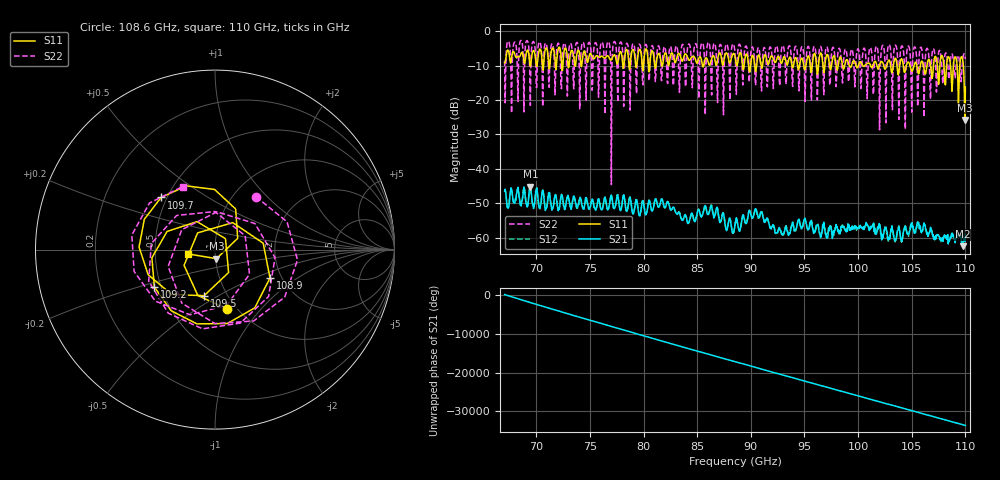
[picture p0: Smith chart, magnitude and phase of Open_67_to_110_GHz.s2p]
#  HZ  S  MA  R  50.00
! Rohde & Schwarz ZVA67 4Ports - Version 4.11 - 1305.7002k04 SN: 101051
! Date: 2023-09-13 16:03:28
! Measurements: S11 S21 S12 S22
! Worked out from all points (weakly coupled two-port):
!   860 points, 67.05 GHz to 110 GHz, reference 50 ohm
!   highest |S21| = -45.21 dB at 69.45 GHz (marker M1); lowest = -62.5 dB at 109.8 GHz (marker M2)
!   lowest |S11| = -25.8 dB at 110 GHz (marker M3), VSWR 1.11, Z = 50.6 - j5.14 ohm
!   |S11| at or under -10 dB: 102.3872 GHz to 102.6549 GHz (267.7 MHz wide, 0.261 % of centre); 104.8299 GHz to 105.1997 GHz (369.8 MHz wide, 0.352 % of centre); 106.0919 GHz to 106.414 GHz (322 MHz wide, 0.303 % of centre) (the widest 3 of 50)
!   |S22| runs from -44.6 to -2.7 dB; largest |S21 - S12| = 0.00079
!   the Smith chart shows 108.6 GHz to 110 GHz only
!   S11 on the Smith chart (normalised r, x): 108.6 GHz: 0.90, -0.67; 108.9 GHz: 1.74, -0.62; 109.2 GHz: 0.46, -0.23; 109.5 GHz: 0.78, -0.43; 109.7 GHz: 0.47, +0.33; 110 GHz: 0.73, -0.04
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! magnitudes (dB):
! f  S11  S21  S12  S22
! 67.05 GHz  -9.2  -46.4  -46.5  -8.5
! 67.4 GHz  -5.6  -51.4  -50.7  -2.9
! 67.65 GHz  -8.7  -45.5  -45.8  -12.9
! 68.55 GHz  -6.7  -50.6  -50.0  -2.7
! 69.45 GHz  -10.2  -45.2  -45.0  -21.5
! 74.25 GHz  -9.7  -50.4  -50.3  -3.9
! 81.4 GHz  -6.5  -51.1  -51.1  -4.2
! 88.55 GHz  -7.7  -55.7  -55.9  -7.5
! 90.45 GHz  -11.8  -51.5  -51.5  -15.7
! 92.95 GHz  -8.7  -58.8  -59.2  -4.2
! 95.7 GHz  -10.8  -56.4  -55.7  -11.0
! 101.7 GHz  -9.4  -58.9  -58.7  -4.3
! 102 GHz  -9.8  -56.1  -56.2  -28.6
! 102.8 GHz  -8.4  -59.9  -61.3  -3.9
! 108.6 GHz  -9.5  -59.8  -59.9  -8.6
! 108.9 GHz  -9.3  -59.2  -59.7  -9.1
! 109.2 GHz  -8.0  -60.1  -60.1  -9.4
! 109.5 GHz  -11.6  -59.8  -59.0  -9.0
! 109.7 GHz  -7.6  -62.1  -61.2  -10.0
! 109.8 GHz  -8.2  -62.5  -61.0  -8.2
! 110 GHz  -25.8  -61.1  -58.7  -7.0
! 110 GHz  -16.2  -59.2  -59.9  -8.1
